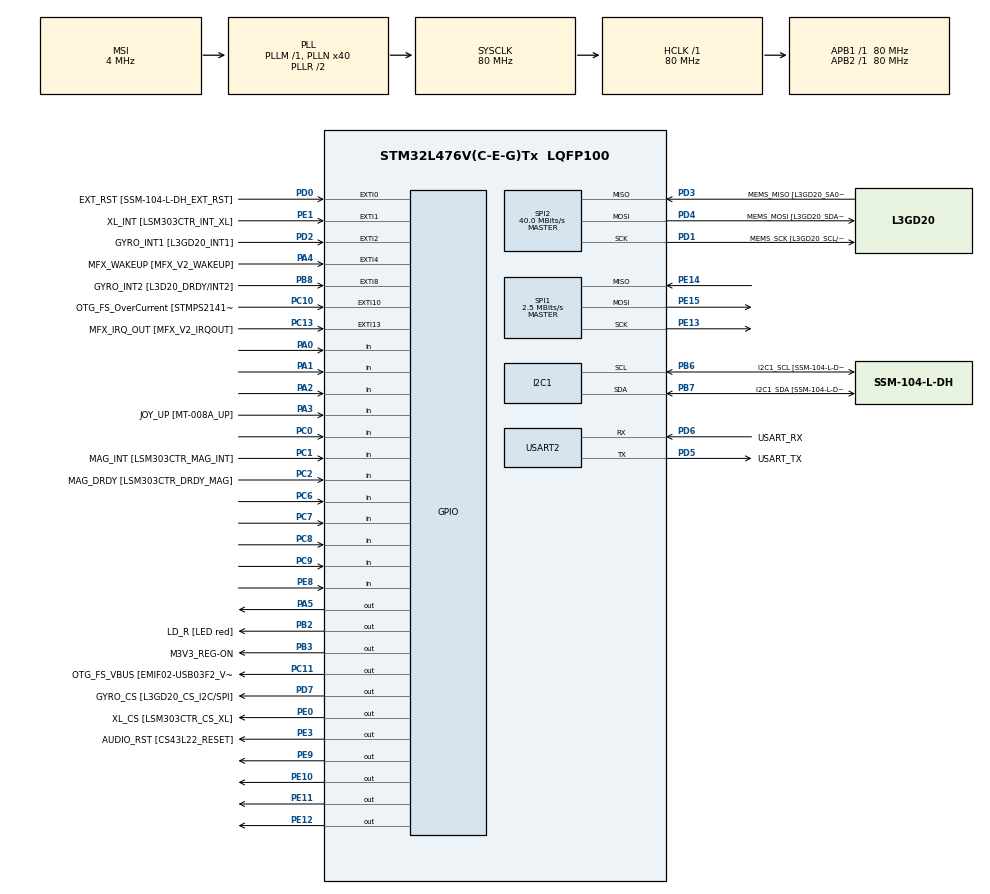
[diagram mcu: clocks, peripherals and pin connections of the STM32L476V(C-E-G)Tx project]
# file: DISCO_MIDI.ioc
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Dma.Request0=SPI1_TX
Dma.Request1=SPI2_RX
Dma.Request2=SPI1_RX
Dma.SPI1_RX.2.Direction=DMA_PERIPH_TO_MEMORY
Dma.SPI1_RX.2.Instance=DMA1_Channel2
Dma.SPI1_RX.2.MemDataAlignment=DMA_MDATAALIGN_BYTE
Dma.SPI1_RX.2.MemInc=DMA_MINC_ENABLE
Dma.SPI1_RX.2.Mode=DMA_NORMAL
Dma.SPI1_RX.2.PeriphDataAlignment=DMA_PDATAALIGN_BYTE
Dma.SPI1_RX.2.PeriphInc=DMA_PINC_DISABLE
Dma.SPI1_RX.2.Priority=DMA_PRIORITY_LOW
Dma.SPI1_TX.0.Direction=DMA_MEMORY_TO_PERIPH
Dma.SPI1_TX.0.Instance=DMA1_Channel3
Dma.SPI1_TX.0.MemDataAlignment=DMA_MDATAALIGN_BYTE
Dma.SPI1_TX.0.MemInc=DMA_MINC_ENABLE
Dma.SPI1_TX.0.Mode=DMA_NORMAL
Dma.SPI1_TX.0.PeriphDataAlignment=DMA_PDATAALIGN_BYTE
Dma.SPI1_TX.0.PeriphInc=DMA_PINC_DISABLE
Dma.SPI1_TX.0.Priority=DMA_PRIORITY_LOW
Dma.SPI2_RX.1.Direction=DMA_PERIPH_TO_MEMORY
Dma.SPI2_RX.1.Instance=DMA1_Channel4
Dma.SPI2_RX.1.MemDataAlignment=DMA_MDATAALIGN_BYTE
Dma.SPI2_RX.1.MemInc=DMA_MINC_ENABLE
Dma.SPI2_RX.1.Mode=DMA_NORMAL
Dma.SPI2_RX.1.PeriphDataAlignment=DMA_PDATAALIGN_BYTE
Dma.SPI2_RX.1.PeriphInc=DMA_PINC_DISABLE
Dma.SPI2_RX.1.Priority=DMA_PRIORITY_LOW
I2C1.Timing=0x10909CEC
Mcu.Family=STM32L4
Mcu.Name=STM32L476V(C-E-G)Tx
Mcu.Package=LQFP100
NVIC.DMA1_Channel2_IRQn=true\:0\:0\:false\:false\:true\:false\:true\:true
NVIC.DMA1_Channel3_IRQn=true\:0\:0\:false\:false\:true\:false\:true\:true
NVIC.DMA1_Channel4_IRQn=true\:0\:0\:false\:false\:true\:false\:true\:true
NVIC.PriorityGroup=NVIC_PRIORITYGROUP_4
NVIC.SPI1_IRQn=true\:0\:0\:false\:false\:true\:true\:true\:true
NVIC.SPI2_IRQn=true\:0\:0\:false\:false\:true\:true\:true\:true
PA0.GPIO_PuPd=GPIO_PULLUP
PA0.Signal=GPIO_Input
PA1.GPIO_PuPd=GPIO_PULLUP
PA1.Signal=GPIO_Input
PA10.Signal=USB_OTG_FS_ID
PA11.Signal=USB_OTG_FS_DM
PA12.Signal=USB_OTG_FS_DP
PA13\ (JTMS-SWDIO).Signal=SYS_JTMS-SWDIO
PA14\ (JTCK-SWCLK).Signal=SYS_JTCK-SWCLK
PA15\ (JTDI).GPIO_Label=SEG10 [GH08172T_SEG10]
PA15\ (JTDI).GPIO_Mode=GPIO_MODE_AF_PP
PA15\ (JTDI).GPIO_PuPd=GPIO_NOPULL
PA15\ (JTDI).GPIO_Speed=GPIO_SPEED_FREQ_LOW
PA15\ (JTDI).Signal=LCD_SEG17
PA2.GPIO_PuPd=GPIO_PULLUP
PA2.Signal=GPIO_Input
PA3.GPIO_Label=JOY_UP [MT-008A_UP]
PA3.GPIO_Mode=GPIO_MODE_INPUT
PA3.GPIO_PuPd=GPIO_PULLDOWN
PA3.Signal=GPIO_Input
PA4.GPIO_Label=MFX_WAKEUP [MFX_V2_WAKEUP]
PA4.GPIO_ModeDefaultEXTI=GPIO_MODE_EVT_RISING
PA4.GPIO_PuPd=GPIO_NOPULL
PA4.Signal=GPXTI4
PA5.Signal=GPIO_Output
PA8.GPIO_Label=COM0 [GH08172T_COM0]
PA8.GPIO_Mode=GPIO_MODE_AF_PP
PA8.GPIO_PuPd=GPIO_NOPULL
PA8.GPIO_Speed=GPIO_SPEED_FREQ_LOW
PA8.Signal=LCD_COM0
PA9.Signal=USB_OTG_FS_VBUS
PB0.GPIO_Label=SEG21 [GH08172T_SEG21]
PB0.GPIO_Mode=GPIO_MODE_AF_PP
PB0.GPIO_PuPd=GPIO_NOPULL
PB0.GPIO_Speed=GPIO_SPEED_FREQ_LOW
PB0.Signal=LCD_SEG5
PB1.GPIO_Label=SEG2 [GH08172T_SEG2]
PB1.GPIO_Mode=GPIO_MODE_AF_PP
PB1.GPIO_PuPd=GPIO_NOPULL
PB1.GPIO_Speed=GPIO_SPEED_FREQ_LOW
PB1.Signal=LCD_SEG6
PB10.GPIO_Label=MFX_I2C_SLC [MFX_V2_I2C_SCL]
PB10.GPIO_Mode=GPIO_MODE_AF_OD
PB10.GPIO_PuPdOD=GPIO_PULLUP
PB10.GPIO_Speed=GPIO_SPEED_FREQ_VERY_HIGH
PB10.Signal=I2C2_SCL
PB11.GPIO_Label=MFX_I2C_SDA [MFX_V2_I2C_SDA]
PB11.GPIO_Mode=GPIO_MODE_AF_OD
PB11.GPIO_PuPdOD=GPIO_PULLUP
PB11.GPIO_Speed=GPIO_SPEED_FREQ_VERY_HIGH
PB11.Signal=I2C2_SDA
PB12.GPIO_Label=SEG20 [GH08172T_SEG20]
PB12.GPIO_Mode=GPIO_MODE_AF_PP
PB12.GPIO_PuPd=GPIO_NOPULL
PB12.GPIO_Speed=GPIO_SPEED_FREQ_LOW
PB12.Signal=LCD_SEG12
PB13.GPIO_Label=SEG3 [GH08172T_SEG3]
PB13.GPIO_Mode=GPIO_MODE_AF_PP
PB13.GPIO_PuPd=GPIO_NOPULL
PB13.GPIO_Speed=GPIO_SPEED_FREQ_LOW
PB13.Signal=LCD_SEG13
PB14.GPIO_Label=SEG19 [GH08172T_SEG19]
PB14.GPIO_Mode=GPIO_MODE_AF_PP
PB14.GPIO_PuPd=GPIO_NOPULL
PB14.GPIO_Speed=GPIO_SPEED_FREQ_LOW
PB14.Signal=LCD_SEG14
PB15.GPIO_Label=SEG4 [GH08172T_SEG4]
PB15.GPIO_Mode=GPIO_MODE_AF_PP
PB15.GPIO_PuPd=GPIO_NOPULL
PB15.GPIO_Speed=GPIO_SPEED_FREQ_LOW
PB15.Signal=LCD_SEG15
PB2.GPIO_Label=LD_R [LED red]
PB2.GPIO_ModeDefaultOutputPP=GPIO_MODE_OUTPUT_PP
PB2.GPIO_PuPd=GPIO_PULLUP
PB2.GPIO_Speed=GPIO_SPEED_FREQ_VERY_HIGH
PB2.Signal=GPIO_Output
PB3\ (JTDO-TRACESWO).GPIO_Label=M3V3_REG-ON
PB3\ (JTDO-TRACESWO).GPIO_ModeDefaultOutputPP=GPIO_MODE_OUTPUT_PP
PB3\ (JTDO-TRACESWO).GPIO_PuPd=GPIO_NOPULL
PB3\ (JTDO-TRACESWO).GPIO_Speed=GPIO_SPEED_FREQ_LOW
PB3\ (JTDO-TRACESWO).Signal=GPIO_Output
PB4\ (NJTRST).GPIO_Label=SEG11 [GH08172T_SEG11]
PB4\ (NJTRST).GPIO_Mode=GPIO_MODE_AF_PP
PB4\ (NJTRST).GPIO_PuPd=GPIO_NOPULL
PB4\ (NJTRST).GPIO_Speed=GPIO_SPEED_FREQ_LOW
PB4\ (NJTRST).Signal=LCD_SEG8
PB5.GPIO_Label=SEG12 [GH08172T_SEG12]
PB5.GPIO_Mode=GPIO_MODE_AF_PP
PB5.GPIO_PuPd=GPIO_NOPULL
PB5.GPIO_Speed=GPIO_SPEED_FREQ_LOW
PB5.Signal=LCD_SEG9
PB6.GPIO_FM6=__NULL
PB6.GPIO_Label=I2C1_SCL [SSM-104-L-DH_SCL]
PB6.GPIO_Mode=GPIO_MODE_AF_OD
PB6.GPIO_PuPdOD=GPIO_PULLUP
PB6.GPIO_Speed=GPIO_SPEED_FREQ_VERY_HIGH
PB6.Mode=I2C
PB6.Signal=I2C1_SCL
PB7.GPIO_FM7=__NULL
PB7.GPIO_Label=I2C1_SDA [SSM-104-L-DH_SDA]
PB7.GPIO_Mode=GPIO_MODE_AF_OD
PB7.GPIO_PuPdOD=GPIO_PULLUP
PB7.GPIO_Speed=GPIO_SPEED_FREQ_VERY_HIGH
PB7.Mode=I2C
PB7.Signal=I2C1_SDA
PB8.GPIO_Label=GYRO_INT2 [L3D20_DRDY/INT2]
PB8.GPIO_ModeDefaultEXTI=GPIO_MODE_EVT_RISING
PB8.GPIO_PuPd=GPIO_NOPULL
PB8.Signal=GPXTI8
PB9.GPIO_FM9=__NULL
PB9.GPIO_Label=COM3 [GH08172T_COM3]
PB9.GPIO_Mode=GPIO_MODE_AF_PP
PB9.GPIO_PuPd=GPIO_NOPULL
PB9.GPIO_Speed=GPIO_SPEED_FREQ_LOW
PB9.Signal=LCD_COM3
PC0.Signal=GPIO_Input
PC1.GPIO_Label=MAG_INT [LSM303CTR_MAG_INT]
PC1.GPIO_Mode=GPIO_MODE_INPUT
PC1.GPIO_PuPd=GPIO_NOPULL
PC1.Signal=GPIO_Input
PC10.GPIO_Label=OTG_FS_OverCurrent [STMPS2141STR_FAULT]
PC10.GPIO_ModeDefaultEXTI=GPIO_MODE_EVT_RISING
PC10.GPIO_PuPd=GPIO_NOPULL
PC10.Signal=GPXTI10
PC11.GPIO_Label=OTG_FS_VBUS [EMIF02-USB03F2_Vbus]
PC11.GPIO_ModeDefaultOutputPP=GPIO_MODE_OUTPUT_PP
PC11.GPIO_PuPd=GPIO_NOPULL
PC11.GPIO_Speed=GPIO_SPEED_FREQ_LOW
PC11.Signal=GPIO_Output
PC13.GPIO_Label=MFX_IRQ_OUT [MFX_V2_IRQOUT]
PC13.GPIO_ModeDefaultEXTI=GPIO_MODE_EVT_RISING
PC13.GPIO_PuPd=GPIO_NOPULL
PC13.Signal=GPXTI13
PC14-OSC32_IN\ (PC14).Signal=RCC_OSC32_IN
PC15-OSC32_OUT\ (PC15).Signal=RCC_OSC32_OUT
PC2.GPIO_Label=MAG_DRDY [LSM303CTR_DRDY_MAG]
PC2.GPIO_Mode=GPIO_MODE_INPUT
PC2.GPIO_PuPd=GPIO_NOPULL
PC2.Signal=GPIO_Input
PC3.GPIO_Label=VLCD
PC3.GPIO_Mode=GPIO_MODE_AF_PP
PC3.GPIO_PuPd=GPIO_NOPULL
PC3.GPIO_Speed=GPIO_SPEED_FREQ_LOW
PC3.Signal=LCD_VLCD
PC4.GPIO_Label=SEG22 [GH08172T_SEG22]
PC4.GPIO_Mode=GPIO_MODE_AF_PP
PC4.GPIO_PuPd=GPIO_NOPULL
PC4.GPIO_Speed=GPIO_SPEED_FREQ_LOW
PC4.Signal=LCD_SEG22
PC5.GPIO_Label=SEG1 [GH08172T_SEG1]
PC5.GPIO_Mode=GPIO_MODE_AF_PP
PC5.GPIO_PuPd=GPIO_NOPULL
PC5.GPIO_Speed=GPIO_SPEED_FREQ_LOW
PC5.Signal=LCD_SEG23
PC6.Signal=GPIO_Input
PC7.Signal=GPIO_Input
PC8.Signal=GPIO_Input
PC9.Signal=GPIO_Input
PD0.GPIO_Label=EXT_RST [SSM-104-L-DH_EXT_RST]
PD0.GPIO_ModeDefaultEXTI=GPIO_MODE_EVT_RISING
PD0.GPIO_PuPd=GPIO_NOPULL
PD0.Signal=GPXTI0
PD1.GPIO_Label=MEMS_SCK [L3GD20_SCL/SPC]
PD1.GPIO_Mode=GPIO_MODE_AF_PP
PD1.GPIO_PuPd=GPIO_NOPULL
PD1.GPIO_Speed=GPIO_SPEED_FREQ_VERY_HIGH
PD1.Mode=Full_Duplex_Master
PD1.Signal=SPI2_SCK
PD10.GPIO_Label=SEG17 [GH08172T_SEG17]
PD10.GPIO_Mode=GPIO_MODE_AF_PP
PD10.GPIO_PuPd=GPIO_NOPULL
PD10.GPIO_Speed=GPIO_SPEED_FREQ_LOW
PD10.Signal=LCD_SEG30
PD11.GPIO_Label=SEG6 [GH08172T_SEG6]
PD11.GPIO_Mode=GPIO_MODE_AF_PP
PD11.GPIO_PuPd=GPIO_NOPULL
PD11.GPIO_Speed=GPIO_SPEED_FREQ_LOW
PD11.Signal=LCD_SEG31
PD12.GPIO_Label=SEG16 [GH08172T_SEG16]
PD12.GPIO_Mode=GPIO_MODE_AF_PP
PD12.GPIO_PuPd=GPIO_NOPULL
PD12.GPIO_Speed=GPIO_SPEED_FREQ_LOW
PD12.Signal=LCD_SEG32
PD13.GPIO_Label=SEG7 [GH08172T_SEG7]
PD13.GPIO_Mode=GPIO_MODE_AF_PP
PD13.GPIO_PuPd=GPIO_NOPULL
PD13.GPIO_Speed=GPIO_SPEED_FREQ_LOW
PD13.Signal=LCD_SEG33
PD14.GPIO_Label=SEG15 [GH08172T_SEG15]
PD14.GPIO_Mode=GPIO_MODE_AF_PP
PD14.GPIO_PuPd=GPIO_NOPULL
PD14.GPIO_Speed=GPIO_SPEED_FREQ_LOW
PD14.Signal=LCD_SEG34
PD15.GPIO_Label=SEG8 [GH08172T_SEG8]
PD15.GPIO_Mode=GPIO_MODE_AF_PP
PD15.GPIO_PuPd=GPIO_NOPULL
PD15.GPIO_Speed=GPIO_SPEED_FREQ_LOW
PD15.Signal=LCD_SEG35
PD2.GPIO_Label=GYRO_INT1 [L3GD20_INT1]
PD2.GPIO_ModeDefaultEXTI=GPIO_MODE_EVT_RISING
PD2.GPIO_PuPd=GPIO_NOPULL
PD2.Signal=GPXTI2
PD3.GPIO_Label=MEMS_MISO [L3GD20_SA0/SDO]
PD3.GPIO_Mode=GPIO_MODE_AF_PP
PD3.GPIO_PuPd=GPIO_NOPULL
PD3.GPIO_Speed=GPIO_SPEED_FREQ_VERY_HIGH
PD3.Mode=Full_Duplex_Master
PD3.Signal=SPI2_MISO
PD4.GPIO_Label=MEMS_MOSI [L3GD20_SDA/SDI/SDO]
PD4.GPIO_Mode=GPIO_MODE_AF_PP
PD4.GPIO_PuPd=GPIO_NOPULL
PD4.GPIO_Speed=GPIO_SPEED_FREQ_VERY_HIGH
PD4.Mode=Full_Duplex_Master
PD4.Signal=SPI2_MOSI
PD5.GPIO_Label=USART_TX
PD5.GPIO_Mode=GPIO_MODE_AF_PP
PD5.GPIO_PuPd=GPIO_PULLUP
PD5.GPIO_Speed=GPIO_SPEED_FREQ_VERY_HIGH
PD5.Mode=Asynchronous
PD5.Signal=USART2_TX
PD6.GPIO_Label=USART_RX
PD6.GPIO_Mode=GPIO_MODE_AF_PP
PD6.GPIO_PuPd=GPIO_PULLUP
PD6.GPIO_Speed=GPIO_SPEED_FREQ_VERY_HIGH
PD6.Mode=Asynchronous
PD6.Signal=USART2_RX
PD7.GPIO_Label=GYRO_CS [L3GD20_CS_I2C/SPI]
PD7.GPIO_ModeDefaultOutputPP=GPIO_MODE_OUTPUT_PP
PD7.GPIO_PuPd=GPIO_NOPULL
PD7.GPIO_Speed=GPIO_SPEED_FREQ_VERY_HIGH
PD7.Signal=GPIO_Output
PD8.GPIO_Label=SEG18 [GH08172T_SEG18]
PD8.GPIO_Mode=GPIO_MODE_AF_PP
PD8.GPIO_PuPd=GPIO_NOPULL
PD8.GPIO_Speed=GPIO_SPEED_FREQ_LOW
PD8.Signal=LCD_SEG28
PD9.GPIO_Label=SEG5 [GH08172T_SEG5]
PD9.GPIO_Mode=GPIO_MODE_AF_PP
PD9.GPIO_PuPd=GPIO_NOPULL
PD9.GPIO_Speed=GPIO_SPEED_FREQ_LOW
PD9.Signal=LCD_SEG29
PE0.GPIO_Label=XL_CS [LSM303CTR_CS_XL]
PE0.GPIO_ModeDefaultOutputPP=GPIO_MODE_OUTPUT_PP
PE0.GPIO_PuPd=GPIO_NOPULL
PE0.GPIO_Speed=GPIO_SPEED_FREQ_LOW
PE0.Signal=GPIO_Output
PE1.GPIO_Label=XL_INT [LSM303CTR_INT_XL]
PE1.GPIO_ModeDefaultEXTI=GPIO_MODE_EVT_RISING
PE1.GPIO_PuPd=GPIO_NOPULL
PE1.Signal=GPXTI1
PE10.Signal=GPIO_Output
PE11.Signal=GPIO_Output
PE12.Signal=GPIO_Output
PE13.Mode=Full_Duplex_Master
PE13.Signal=SPI1_SCK
PE14.Mode=Full_Duplex_Master
PE14.Signal=SPI1_MISO
PE15.Mode=Full_Duplex_Master
PE15.Signal=SPI1_MOSI
PE2.GPIO_Label=SAI1_MCK [CS43L22_MCLK]
PE2.GPIO_Mode=GPIO_MODE_AF_PP
PE2.GPIO_PuPd=GPIO_NOPULL
PE2.GPIO_Speed=GPIO_SPEED_FREQ_VERY_HIGH
PE2.Signal=SAI1_MCLK_A
PE3.GPIO_Label=AUDIO_RST [CS43L22_RESET]
PE3.GPIO_ModeDefaultOutputPP=GPIO_MODE_OUTPUT_PP
PE3.GPIO_PuPd=GPIO_NOPULL
PE3.GPIO_Speed=GPIO_SPEED_FREQ_HIGH
PE3.Signal=GPIO_Output
PE4.GPIO_Label=SAI1_FS [CS43L22_LRCK]
PE4.GPIO_Mode=GPIO_MODE_AF_PP
PE4.GPIO_PuPd=GPIO_NOPULL
PE4.GPIO_Speed=GPIO_SPEED_FREQ_VERY_HIGH
PE4.Signal=SAI1_FS_A
PE5.GPIO_Label=SAI1_SCK [CS43L22_SCLK]
PE5.GPIO_Mode=GPIO_MODE_AF_PP
PE5.GPIO_PuPd=GPIO_NOPULL
PE5.GPIO_Speed=GPIO_SPEED_FREQ_VERY_HIGH
PE5.Signal=SAI1_SCK_A
PE6.GPIO_Label=SAI1_SD [CS43L22_SDIN]
PE6.GPIO_Mode=GPIO_MODE_AF_PP
PE6.GPIO_PuPd=GPIO_NOPULL
PE6.GPIO_Speed=GPIO_SPEED_FREQ_VERY_HIGH
PE6.Signal=SAI1_SD_A
PE7.GPIO_Label=AUDIO_DIN [MP34DT01_DOUT]
PE7.GPIO_Mode=GPIO_MODE_AF_PP
PE7.GPIO_PuPd=GPIO_NOPULL
PE7.GPIO_Speed=GPIO_SPEED_FREQ_VERY_HIGH
PE7.Signal=SAI1_SD_B
PE8.GPIO_PuPd=GPIO_PULLUP
PE8.Signal=GPIO_Input
PE9.Signal=GPIO_Output
PH0-OSC_IN\ (PH0).Signal=RCC_OSC_IN
PH1-OSC_OUT\ (PH1).Signal=RCC_OSC_OUT
ProjectManager.HeapSize=0x200
ProjectManager.StackSize=0x400
ProjectManager.TargetToolchain=Makefile
RCC.ADCFreq_Value=48000000
RCC.AHBFreq_Value=80000000
RCC.APB1Freq_Value=80000000
RCC.APB1TimFreq_Value=80000000
RCC.APB2Freq_Value=80000000
RCC.APB2TimFreq_Value=80000000
RCC.CortexFreq_Value=80000000
RCC.HCLKFreq_Value=80000000
RCC.HSE_VALUE=8000000
RCC.HSI_VALUE=16000000
RCC.LSE_VALUE=32768
RCC.MSI_VALUE=4000000
RCC.PLLN=40
RCC.PLLSAI1N=24
RCC.PREFETCH_ENABLE=1
RCC.SYSCLKFreq_VALUE=80000000
RCC.SYSCLKSource=RCC_SYSCLKSOURCE_PLLCLK
RCC.USBFreq_Value=48000000
RCC.VCOOutputFreq_Value=160000000
SPI1.BaudRatePrescaler=SPI_BAUDRATEPRESCALER_32
SPI1.CalculateBaudRate=2.5 MBits/s
SPI1.DataSize=SPI_DATASIZE_8BIT
SPI1.Direction=SPI_DIRECTION_2LINES
SPI1.FirstBit=SPI_FIRSTBIT_MSB
SPI1.Mode=SPI_MODE_MASTER
SPI1.NSSPMode=SPI_NSS_PULSE_DISABLE
SPI1.VirtualType=VM_MASTER
SPI2.BaudRatePrescaler=SPI_BAUDRATEPRESCALER_2
SPI2.CRCCalculation=SPI_CRCCALCULATION_DISABLE
SPI2.CalculateBaudRate=40.0 MBits/s
SPI2.DataSize=SPI_DATASIZE_8BIT
SPI2.Direction=SPI_DIRECTION_2LINES
SPI2.FirstBit=SPI_FIRSTBIT_LSB
SPI2.Mode=SPI_MODE_MASTER
SPI2.NSSPMode=SPI_NSS_PULSE_DISABLE
SPI2.VirtualType=VM_MASTER
USART2.VirtualMode-Asynchronous=VM_ASYNC
board=STM32L476G-DISCO

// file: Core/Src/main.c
/* USER CODE BEGIN Header */
/**
  ******************************************************************************
  * @file           : main.c
  * @brief          : Main program body
  ******************************************************************************
  * @attention
  *
  * Copyright (c) 2023 STMicroelectronics.
  * All rights reserved.
  *
  * This software is licensed under terms that can be found in the LICENSE file
  * in the root directory of this software component.
  * If no LICENSE file comes with this software, it is provided AS-IS.
  *
  ******************************************************************************
  */
/* USER CODE END Header */
#include "main.h"

/* USER CODE BEGIN Includes */
#include "tusb.h"
#include "tusb_config.h"
#include "board_api.h"
//#include "../../tinyusb/hw/bsp/board_api.h"
//#include "family.c"
//#include "tinyusb/bsp/stm32l4/family" this isnt valid but find way to include this file
/* USER CODE END Includes */

/* USER CODE BEGIN PD */

#define SPI_LENGTH 3

enum  {
  BLINK_NOT_MOUNTED = 250,
  BLINK_MOUNTED = 1000,
  BLINK_SUSPENDED = 2500,
};

static uint32_t blink_interval_ms = BLINK_NOT_MOUNTED;

// Variable that holds the current position in the sequence.
uint32_t note_pos = 0;

// Store example melody as an array of note values
uint8_t note_sequence[] =
{
  74,78,81,86,90,93,98,102,57,61,66,69,73,78,81,85,88,92,97,100,97,92,88,85,81,78,
  74,69,66,62,57,62,66,69,74,78,81,86,90,93,97,102,97,93,90,85,81,78,73,68,64,61,
  56,61,64,68,74,78,81,86,90,93,98,102
};

// tracks which keys are pressed
uint16_t KEYPRESS = 0;
uint16_t KEYPRESSED = 0;

/* USER CODE END PD */

I2C_HandleTypeDef hi2c1;

SPI_HandleTypeDef hspi1;
SPI_HandleTypeDef hspi2;
DMA_HandleTypeDef hdma_spi1_tx;
DMA_HandleTypeDef hdma_spi1_rx;
DMA_HandleTypeDef hdma_spi2_rx;

UART_HandleTypeDef huart2;

/* USER CODE BEGIN PV */

//uint16_t I2C_TX_Buffer[]; //buffer for i2c data (wrong?)
uint8_t I2C_TX_Buffer[ 2 ]; //buffer for i2c data

uint32_t ADC1_VAL[ 8 ]; // one element for each ADC channel (one device)
uint32_t ADC2_VAL[ 8 ]; // one element for each ADC channel (one device)

uint32_t ADC1_VAL_TEST[ 8 ]; // one element for each ADC channel (one device)
uint32_t ADC2_VAL_TEST[ 8 ]; // one element for each ADC channel (one device)
//uint32_t adc_val;

uint8_t SPI_TX_Buffer[ SPI_LENGTH ];

uint8_t SPI_RX_Buffer[ SPI_LENGTH ];

/* USER CODE END PV */

void SystemClock_Config(void);
static void MX_GPIO_Init(void);
static void MX_DMA_Init(void);
static void MX_SPI1_Init(void);
static void MX_I2C1_Init(void);
static void MX_SPI2_Init(void);
static void MX_USART2_UART_Init(void);
/* USER CODE BEGIN PFP */

void midi_task(void);
void READ_KEYPRESS(uint32_t adc1_val[], uint32_t adc2_val[]);
uint8_t HALL_TO_DAC(uint32_t adc1_val[], uint32_t adc2_val[], int octave_num);
uint8_t DAC_TO_MIDI(uint8_t val);
void MIDI_TASK(int octave_num);

/* USER CODE END PFP */

int main(void)
{

  /* MCU Configuration--------------------------------------------------------*/

  /* Reset of all peripherals, Initializes the Flash interface and the Systick. */
  HAL_Init();

  /* Configure the system clock */
  //SystemClock_Config();

  /* USER CODE BEGIN SysInit */
  /* INITIALIZE TINYUSB */
  board_init();
  //tusb_init();
  /* USER CODE END SysInit */

  /* Initialize all configured peripherals */
  MX_GPIO_Init();
  MX_DMA_Init();
  MX_SPI1_Init();
  MX_I2C1_Init();
  MX_SPI2_Init();
  MX_USART2_UART_Init();
  /* USER CODE BEGIN 2 */

  /* INITIALIZE TINYUSB */
  //board_init();
  tusb_init();
  //tud_init(BOARD_TUD_RHPORT);

  // initialize transmit buffer for test case
  // START BIT
  SPI_TX_Buffer[0] = 0b00000001;
  // CHANNEL SELECT (JUST CHECK CH0 FOR NOW)
  SPI_TX_Buffer[1] = 0b10000000; // single ended, ch0 (top 4 bits)
  // NEED TO SEND THIRD BYTE (FULL DUPLEX), DONT CARE
  SPI_TX_Buffer[2] = 0b00000000;

  // set slave address of i2c device
  uint8_t slave_address = 0b01011000;

  //reset dac registers
  I2C_TX_Buffer[0] = 0b00010000; // send command byte, select OUT0
  HAL_I2C_Master_Transmit(&hi2c1,slave_address,I2C_TX_Buffer,1,1000); //Sending in Blocking mode
  HAL_GPIO_WritePin(GPIOE, GPIO_PIN_12, GPIO_PIN_SET);
  HAL_GPIO_WritePin(GPIOE, GPIO_PIN_11, GPIO_PIN_SET);

  int octave_num = 2;
  bool flag1 = false;
  bool flag2 = false;

  // MIDI == 0 , DAC == 1
  bool output_state = 0;
  //volatile int PA_1_VAL = 0;
  //volatile int PA_2_VAL = 0;

  /*
  I2C_TX_Buffer[0] = slave_address; // set slave address to AD0
  HAL_I2C_Master_Transmit(&hi2c1,slave_address,I2C_TX_Buffer,1,1000); //Sending in Blocking mode
  I2C_TX_Buffer[0] = 0b00010000; // send command byte, select OUT0
  HAL_I2C_Master_Transmit(&hi2c1,slave_address,I2C_TX_Buffer,1,1000); //Sending in Blocking mode
  */

  //I2C_TX_Buffer[0] = slave_address; // set slave address to AD0 -- put in header file!
  //HAL_I2C_Master_Transmit(&hi2c1,slave_address,I2C_TX_Buffer,1,1000); //Sending in Blocking mode
  //HAL_Delay(100);

  //int i = 0;

  /* TEST CODE FOR MIDI INTERFACE*/
  //zero out test ADC buffers
  /*
  for(int i = 0;i<12;i++){
    ADC1_VAL_TEST[i] = 0x0;
    ADC2_VAL_TEST[i] = 0x0;
  }
  */

  tud_task();

  /* USER CODE END 2 */

  /* Infinite loop */
  /* USER CODE BEGIN WHILE */
  while (1)
  {

    // TEST CODE, SET EACH VALUE IN BUFFER ABOVE THRESHOLD FOR NOTE ON
    /*
    if(j > 7) j = 0;
    if(j == 0) {
      ADC1_VAL_TEST[j] = 650;
      ADC1_VAL_TEST[j+1] = 650;
      ADC1_VAL_TEST[7] = 0;
    }
    else {
      ADC1_VAL_TEST[j] = 650;
      ADC1_VAL_TEST[j+1] = 650;
      ADC1_VAL_TEST[j-1] = 0;
    }
    j = j+1;

    READ_KEYPRESS(ADC1_VAL_TEST,ADC2_VAL_TEST);
    tud_task(); // tinyusb device task
    MIDI_TASK(octave_num);
    */
    //HAL_Delay(1000);

    //PA_1_VAL = HAL_GPIO_ReadPin (GPIOA, GPIO_PIN_1);
    //PA_2_VAL = HAL_GPIO_ReadPin (GPIOA, GPIO_PIN_2);

    tud_task(); // tinyusb device task

    if (!HAL_GPIO_ReadPin(GPIOA, GPIO_PIN_1) && !flag1){
      octave_num = octave_num + 1;
      if(octave_num > 4) octave_num = 4;
      flag1 = true;
    }

    if (HAL_GPIO_ReadPin(GPIOA, GPIO_PIN_1)) flag1 = false;

    if (!HAL_GPIO_ReadPin(GPIOA, GPIO_PIN_2) && !flag2){
      octave_num = octave_num - 1;
      if(octave_num < 0) octave_num = 0;
      flag2 = true;
    }

    if (HAL_GPIO_ReadPin(GPIOA, GPIO_PIN_2)) flag2 = false;

    // SPI ADC TEST (IN BLOCKING MODE)
    for (int i = 0; i < 8; i++) {
    SPI_TX_Buffer[1] = 0b10000000 | (i<<4); // single ended, bits 6-4 specify channel (top 4 bits)
    // pull CS low for selecting device (only using one ADC right now)
    HAL_GPIO_WritePin(GPIOE, GPIO_PIN_11, GPIO_PIN_RESET);
    // one full duplex interaction
    HAL_SPI_TransmitReceive (&hspi1, SPI_TX_Buffer, SPI_RX_Buffer, 3, 1000);
    // now need to parse data
    ADC1_VAL[i] = (((SPI_RX_Buffer[1]&0x03)<<8)|SPI_RX_Buffer[2]);
    // default CS to be high
    HAL_GPIO_WritePin(GPIOE, GPIO_PIN_11, GPIO_PIN_SET);
    //if(i == 7) i = 0;
    //else i++;
    }

    for (int i = 0; i < 8; i++) {
    SPI_TX_Buffer[1] = 0b10000000 | (i<<4); // single ended, bits 6-4 specify channel (top 4 bits)
    // pull CS low for selecting device (only using one ADC right now)
    HAL_GPIO_WritePin(GPIOE, GPIO_PIN_12, GPIO_PIN_RESET);
    // one full duplex interaction
    HAL_SPI_TransmitReceive (&hspi1, SPI_TX_Buffer, SPI_RX_Buffer, 3, 1000);
    // now need to parse data
    ADC2_VAL[i] = (((SPI_RX_Buffer[1]&0x03)<<8)|SPI_RX_Buffer[2]);
    // default CS to be high
    HAL_GPIO_WritePin(GPIOE, GPIO_PIN_12, GPIO_PIN_SET);
    }

    /* CHECK OUTPUT SWITCH, SEND 0x00 from DAC if in MIDI mode*/
    if (!HAL_GPIO_ReadPin(GPIOE, GPIO_PIN_8)){
    /* Read through all DAC channels in output buffer, set output on ADC accordingly */
      I2C_TX_Buffer[0] = 0x0; // command byte, select OUT0
      I2C_TX_Buffer[1] = HALL_TO_DAC(ADC1_VAL,ADC2_VAL,octave_num); // data byte, corresponds to each channel of one 8 channel DAC (eventually need 2 DACs)
      HAL_I2C_Master_Transmit(&hi2c1,slave_address,I2C_TX_Buffer,2,1000); //Sending in Blocking mode
    }
    /* EVENTUALLY should send DAC = 0 (SET GATE also eventually) AND midi signal */
    else{
      I2C_TX_Buffer[0] = 0x0; // command byte, select OUT0
      I2C_TX_Buffer[1] = 0x0; // data byte, corresponds to each channel of one 8 channel DAC (eventually need 2 DACs)
      HAL_I2C_Master_Transmit(&hi2c1,slave_address,I2C_TX_Buffer,2,1000); //Sending in Blocking mode
      /* CODE BELOW SHOULD BE GOOD, JUST COMMENTED OUT FOR TESTING PURPOSES */
      READ_KEYPRESS(ADC1_VAL,ADC2_VAL);
      MIDI_TASK(octave_num);
    }
    /* I2C protocol test -- move test cases to auxiliary files */

    //I2C_TX_Buffer[0] = 0x0; // command byte, select OUT0
    //I2C_TX_Buffer[1] = 0xFF; // data byte, full VREF
    //HAL_I2C_Master_Transmit(&hi2c1,slave_address,I2C_TX_Buffer,2,1000); //Sending in Blocking mode
    //HAL_Delay(1000);

    //I2C_TX_Buffer[0] = 0x0; // command byte, select OUT0
    //I2C_TX_Buffer[1] = 0x80; // data byte, half VREF
    //HAL_I2C_Master_Transmit(&hi2c1,slave_address,I2C_TX_Buffer,2,1000); //Sending in Blocking mode
    //HAL_Delay(1000);

    //I2C_TX_Buffer[0] = 0x0; // command byte, select OUT0
    //I2C_TX_Buffer[1] = 0x0; // data byte, GND
    //HAL_I2C_Master_Transmit(&hi2c1,slave_address,I2C_TX_Buffer,2,1000); //Sending in Blocking mode
    //HAL_Delay(1000);

    //tud_task(); // tinyusb device task
    //MIDI_TASK();
    //midi_task();
    //HAL_Delay(1000);

    /* USER CODE END WHILE */

  }
}

void SystemClock_Config(void)
{
  RCC_OscInitTypeDef RCC_OscInitStruct = {0};
  RCC_ClkInitTypeDef RCC_ClkInitStruct = {0};

  /** Configure the main internal regulator output voltage
  */
  if (HAL_PWREx_ControlVoltageScaling(PWR_REGULATOR_VOLTAGE_SCALE1) != HAL_OK)
  {
    Error_Handler();
  }

  /** Initializes the RCC Oscillators according to the specified parameters
  * in the RCC_OscInitTypeDef structure.
  */
  RCC_OscInitStruct.OscillatorType = RCC_OSCILLATORTYPE_MSI;
  RCC_OscInitStruct.MSIState = RCC_MSI_ON;
  RCC_OscInitStruct.MSICalibrationValue = 0;
  RCC_OscInitStruct.MSIClockRange = RCC_MSIRANGE_6;
  RCC_OscInitStruct.PLL.PLLState = RCC_PLL_ON;
  RCC_OscInitStruct.PLL.PLLSource = RCC_PLLSOURCE_MSI;
  RCC_OscInitStruct.PLL.PLLM = 1;
  RCC_OscInitStruct.PLL.PLLN = 40;
  RCC_OscInitStruct.PLL.PLLP = RCC_PLLP_DIV7;
  RCC_OscInitStruct.PLL.PLLQ = RCC_PLLQ_DIV2;
  RCC_OscInitStruct.PLL.PLLR = RCC_PLLR_DIV2;
  if (HAL_RCC_OscConfig(&RCC_OscInitStruct) != HAL_OK)
  {
    Error_Handler();
  }

  /** Initializes the CPU, AHB and APB buses clocks
  */
  RCC_ClkInitStruct.ClockType = RCC_CLOCKTYPE_HCLK|RCC_CLOCKTYPE_SYSCLK
                              |RCC_CLOCKTYPE_PCLK1|RCC_CLOCKTYPE_PCLK2;
  RCC_ClkInitStruct.SYSCLKSource = RCC_SYSCLKSOURCE_PLLCLK;
  RCC_ClkInitStruct.AHBCLKDivider = RCC_SYSCLK_DIV1;
  RCC_ClkInitStruct.APB1CLKDivider = RCC_HCLK_DIV1;
  RCC_ClkInitStruct.APB2CLKDivider = RCC_HCLK_DIV1;

  if (HAL_RCC_ClockConfig(&RCC_ClkInitStruct, FLASH_LATENCY_4) != HAL_OK)
  {
    Error_Handler();
  }
}

static void MX_I2C1_Init(void)
{

  hi2c1.Instance = I2C1;
  hi2c1.Init.Timing = 0x10909CEC;
  hi2c1.Init.OwnAddress1 = 0;
  hi2c1.Init.AddressingMode = I2C_ADDRESSINGMODE_7BIT;
  hi2c1.Init.DualAddressMode = I2C_DUALADDRESS_DISABLE;
  hi2c1.Init.OwnAddress2 = 0;
  hi2c1.Init.OwnAddress2Masks = I2C_OA2_NOMASK;
  hi2c1.Init.GeneralCallMode = I2C_GENERALCALL_DISABLE;
  hi2c1.Init.NoStretchMode = I2C_NOSTRETCH_DISABLE;
  if (HAL_I2C_Init(&hi2c1) != HAL_OK)
  {
    Error_Handler();
  }

  /** Configure Analogue filter
  */
  if (HAL_I2CEx_ConfigAnalogFilter(&hi2c1, I2C_ANALOGFILTER_ENABLE) != HAL_OK)
  {
    Error_Handler();
  }

  /** Configure Digital filter
  */
  if (HAL_I2CEx_ConfigDigitalFilter(&hi2c1, 0) != HAL_OK)
  {
    Error_Handler();
  }

}

static void MX_SPI1_Init(void)
{

  /* SPI1 parameter configuration*/
  hspi1.Instance = SPI1;
  hspi1.Init.Mode = SPI_MODE_MASTER;
  hspi1.Init.Direction = SPI_DIRECTION_2LINES;
  hspi1.Init.DataSize = SPI_DATASIZE_8BIT;
  hspi1.Init.CLKPolarity = SPI_POLARITY_LOW;
  hspi1.Init.CLKPhase = SPI_PHASE_1EDGE;
  hspi1.Init.NSS = SPI_NSS_SOFT;
  hspi1.Init.BaudRatePrescaler = SPI_BAUDRATEPRESCALER_32;
  hspi1.Init.FirstBit = SPI_FIRSTBIT_MSB;
  hspi1.Init.TIMode = SPI_TIMODE_DISABLE;
  hspi1.Init.CRCCalculation = SPI_CRCCALCULATION_DISABLE;
  hspi1.Init.CRCPolynomial = 7;
  hspi1.Init.CRCLength = SPI_CRC_LENGTH_DATASIZE;
  hspi1.Init.NSSPMode = SPI_NSS_PULSE_DISABLE;
  if (HAL_SPI_Init(&hspi1) != HAL_OK)
  {
    Error_Handler();
  }

}

static void MX_SPI2_Init(void)
{

  /* SPI2 parameter configuration*/
  hspi2.Instance = SPI2;
  hspi2.Init.Mode = SPI_MODE_MASTER;
  hspi2.Init.Direction = SPI_DIRECTION_2LINES;
  hspi2.Init.DataSize = SPI_DATASIZE_8BIT;
  hspi2.Init.CLKPolarity = SPI_POLARITY_LOW;
  hspi2.Init.CLKPhase = SPI_PHASE_1EDGE;
  hspi2.Init.NSS = SPI_NSS_SOFT;
  hspi2.Init.BaudRatePrescaler = SPI_BAUDRATEPRESCALER_2;
  hspi2.Init.FirstBit = SPI_FIRSTBIT_LSB;
  hspi2.Init.TIMode = SPI_TIMODE_DISABLE;
  hspi2.Init.CRCCalculation = SPI_CRCCALCULATION_DISABLE;
  hspi2.Init.CRCPolynomial = 7;
  hspi2.Init.CRCLength = SPI_CRC_LENGTH_DATASIZE;
  hspi2.Init.NSSPMode = SPI_NSS_PULSE_DISABLE;
  if (HAL_SPI_Init(&hspi2) != HAL_OK)
  {
    Error_Handler();
  }

}

static void MX_USART2_UART_Init(void)
{

  huart2.Instance = USART2;
  huart2.Init.BaudRate = 115200;
  huart2.Init.WordLength = UART_WORDLENGTH_8B;
  huart2.Init.StopBits = UART_STOPBITS_1;
  huart2.Init.Parity = UART_PARITY_NONE;
  huart2.Init.Mode = UART_MODE_TX_RX;
  huart2.Init.HwFlowCtl = UART_HWCONTROL_NONE;
  huart2.Init.OverSampling = UART_OVERSAMPLING_16;
  huart2.Init.OneBitSampling = UART_ONE_BIT_SAMPLE_DISABLE;
  huart2.AdvancedInit.AdvFeatureInit = UART_ADVFEATURE_NO_INIT;
  if (HAL_UART_Init(&huart2) != HAL_OK)
  {
    Error_Handler();
  }

}

static void MX_DMA_Init(void)
{

  /* DMA controller clock enable */
  __HAL_RCC_DMA1_CLK_ENABLE();

  /* DMA interrupt init */
  /* DMA1_Channel2_IRQn interrupt configuration */
  HAL_NVIC_SetPriority(DMA1_Channel2_IRQn, 0, 0);
  HAL_NVIC_EnableIRQ(DMA1_Channel2_IRQn);
  /* DMA1_Channel3_IRQn interrupt configuration */
  HAL_NVIC_SetPriority(DMA1_Channel3_IRQn, 0, 0);
  HAL_NVIC_EnableIRQ(DMA1_Channel3_IRQn);
  /* DMA1_Channel4_IRQn interrupt configuration */
  HAL_NVIC_SetPriority(DMA1_Channel4_IRQn, 0, 0);
  HAL_NVIC_EnableIRQ(DMA1_Channel4_IRQn);

}

static void MX_GPIO_Init(void)
{
  GPIO_InitTypeDef GPIO_InitStruct = {0};

  /* GPIO Ports Clock Enable */
  __HAL_RCC_GPIOE_CLK_ENABLE();
  __HAL_RCC_GPIOC_CLK_ENABLE();
  __HAL_RCC_GPIOH_CLK_ENABLE();
  __HAL_RCC_GPIOA_CLK_ENABLE();
  __HAL_RCC_GPIOB_CLK_ENABLE();
  __HAL_RCC_GPIOD_CLK_ENABLE();

  /*Configure GPIO pin Output Level */
  HAL_GPIO_WritePin(GPIOE, AUDIO_RST_Pin|GPIO_PIN_9|GPIO_PIN_10|GPIO_PIN_11
                          |GPIO_PIN_12|XL_CS_Pin, GPIO_PIN_RESET);

  /*Configure GPIO pin Output Level */
  HAL_GPIO_WritePin(GPIOA, GPIO_PIN_5, GPIO_PIN_RESET);

  /*Configure GPIO pin Output Level */
  HAL_GPIO_WritePin(GPIOB, LD_R_Pin|M3V3_REG_ON_Pin, GPIO_PIN_RESET);

  /*Configure GPIO pin Output Level */
  HAL_GPIO_WritePin(OTG_FS_VBUS_GPIO_Port, OTG_FS_VBUS_Pin, GPIO_PIN_RESET);

  /*Configure GPIO pin Output Level */
  HAL_GPIO_WritePin(GYRO_CS_GPIO_Port, GYRO_CS_Pin, GPIO_PIN_RESET);

  /*Configure GPIO pins : SAI1_MCK_Pin SAI1_FS_Pin SAI1_SCK_Pin SAI1_SD_Pin
                           AUDIO_DIN_Pin */
  GPIO_InitStruct.Pin = SAI1_MCK_Pin|SAI1_FS_Pin|SAI1_SCK_Pin|SAI1_SD_Pin
                          |AUDIO_DIN_Pin;
  GPIO_InitStruct.Mode = GPIO_MODE_AF_PP;
  GPIO_InitStruct.Pull = GPIO_NOPULL;
  GPIO_InitStruct.Speed = GPIO_SPEED_FREQ_VERY_HIGH;
  GPIO_InitStruct.Alternate = GPIO_AF13_SAI1;
  HAL_GPIO_Init(GPIOE, &GPIO_InitStruct);

  /*Configure GPIO pin : AUDIO_RST_Pin */
  GPIO_InitStruct.Pin = AUDIO_RST_Pin;
  GPIO_InitStruct.Mode = GPIO_MODE_OUTPUT_PP;
  GPIO_InitStruct.Pull = GPIO_NOPULL;
  GPIO_InitStruct.Speed = GPIO_SPEED_FREQ_HIGH;
  HAL_GPIO_Init(AUDIO_RST_GPIO_Port, &GPIO_InitStruct);

  /*Configure GPIO pins : MFX_IRQ_OUT_Pin OTG_FS_OverCurrent_Pin */
  GPIO_InitStruct.Pin = MFX_IRQ_OUT_Pin|OTG_FS_OverCurrent_Pin;
  GPIO_InitStruct.Mode = GPIO_MODE_EVT_RISING;
  GPIO_InitStruct.Pull = GPIO_NOPULL;
  HAL_GPIO_Init(GPIOC, &GPIO_InitStruct);

  /*Configure GPIO pins : PC0 MAG_INT_Pin MAG_DRDY_Pin PC6
                           PC7 PC8 PC9 */
  GPIO_InitStruct.Pin = GPIO_PIN_0|MAG_INT_Pin|MAG_DRDY_Pin|GPIO_PIN_6
                          |GPIO_PIN_7|GPIO_PIN_8|GPIO_PIN_9;
  GPIO_InitStruct.Mode = GPIO_MODE_INPUT;
  GPIO_InitStruct.Pull = GPIO_NOPULL;
  HAL_GPIO_Init(GPIOC, &GPIO_InitStruct);

  /*Configure GPIO pins : VLCD_Pin SEG22_Pin SEG1_Pin */
  GPIO_InitStruct.Pin = VLCD_Pin|SEG22_Pin|SEG1_Pin;
  GPIO_InitStruct.Mode = GPIO_MODE_AF_PP;
  GPIO_InitStruct.Pull = GPIO_NOPULL;
  GPIO_InitStruct.Speed = GPIO_SPEED_FREQ_LOW;
  GPIO_InitStruct.Alternate = GPIO_AF11_LCD;
  HAL_GPIO_Init(GPIOC, &GPIO_InitStruct);

  /*Configure GPIO pins : PA0 PA1 PA2 */
  GPIO_InitStruct.Pin = GPIO_PIN_0|GPIO_PIN_1|GPIO_PIN_2;
  GPIO_InitStruct.Mode = GPIO_MODE_INPUT;
  GPIO_InitStruct.Pull = GPIO_PULLUP;
  HAL_GPIO_Init(GPIOA, &GPIO_InitStruct);

  /*Configure GPIO pin : JOY_UP_Pin */
  GPIO_InitStruct.Pin = JOY_UP_Pin;
  GPIO_InitStruct.Mode = GPIO_MODE_INPUT;
  GPIO_InitStruct.Pull = GPIO_PULLDOWN;
  HAL_GPIO_Init(JOY_UP_GPIO_Port, &GPIO_InitStruct);

  /*Configure GPIO pin : MFX_WAKEUP_Pin */
  GPIO_InitStruct.Pin = MFX_WAKEUP_Pin;
  GPIO_InitStruct.Mode = GPIO_MODE_EVT_RISING;
  GPIO_InitStruct.Pull = GPIO_NOPULL;
  HAL_GPIO_Init(MFX_WAKEUP_GPIO_Port, &GPIO_InitStruct);

  /*Configure GPIO pin : PA5 */
  GPIO_InitStruct.Pin = GPIO_PIN_5;
  GPIO_InitStruct.Mode = GPIO_MODE_OUTPUT_PP;
  GPIO_InitStruct.Pull = GPIO_NOPULL;
  GPIO_InitStruct.Speed = GPIO_SPEED_FREQ_LOW;
  HAL_GPIO_Init(GPIOA, &GPIO_InitStruct);

  /*Configure GPIO pins : SEG21_Pin SEG2_Pin SEG20_Pin SEG3_Pin
                           SEG19_Pin SEG4_Pin SEG11_Pin SEG12_Pin
                           COM3_Pin */
  GPIO_InitStruct.Pin = SEG21_Pin|SEG2_Pin|SEG20_Pin|SEG3_Pin
                          |SEG19_Pin|SEG4_Pin|SEG11_Pin|SEG12_Pin
                          |COM3_Pin;
  GPIO_InitStruct.Mode = GPIO_MODE_AF_PP;
  GPIO_InitStruct.Pull = GPIO_NOPULL;
  GPIO_InitStruct.Speed = GPIO_SPEED_FREQ_LOW;
  GPIO_InitStruct.Alternate = GPIO_AF11_LCD;
  HAL_GPIO_Init(GPIOB, &GPIO_InitStruct);

  /*Configure GPIO pin : LD_R_Pin */
  GPIO_InitStruct.Pin = LD_R_Pin;
  GPIO_InitStruct.Mode = GPIO_MODE_OUTPUT_PP;
  GPIO_InitStruct.Pull = GPIO_PULLUP;
  GPIO_InitStruct.Speed = GPIO_SPEED_FREQ_VERY_HIGH;
  HAL_GPIO_Init(LD_R_GPIO_Port, &GPIO_InitStruct);

  /*Configure GPIO pin : PE8 */
  GPIO_InitStruct.Pin = GPIO_PIN_8;
  GPIO_InitStruct.Mode = GPIO_MODE_INPUT;
  GPIO_InitStruct.Pull = GPIO_PULLUP;
  HAL_GPIO_Init(GPIOE, &GPIO_InitStruct);

  /*Configure GPIO pins : PE9 PE10 PE11 PE12
                           XL_CS_Pin */
  GPIO_InitStruct.Pin = GPIO_PIN_9|GPIO_PIN_10|GPIO_PIN_11|GPIO_PIN_12
                          |XL_CS_Pin;
  GPIO_InitStruct.Mode = GPIO_MODE_OUTPUT_PP;
  GPIO_InitStruct.Pull = GPIO_NOPULL;
  GPIO_InitStruct.Speed = GPIO_SPEED_FREQ_LOW;
  HAL_GPIO_Init(GPIOE, &GPIO_InitStruct);

  /*Configure GPIO pins : MFX_I2C_SLC_Pin MFX_I2C_SDA_Pin */
  GPIO_InitStruct.Pin = MFX_I2C_SLC_Pin|MFX_I2C_SDA_Pin;
  GPIO_InitStruct.Mode = GPIO_MODE_AF_OD;
  GPIO_InitStruct.Pull = GPIO_NOPULL;
  GPIO_InitStruct.Speed = GPIO_SPEED_FREQ_VERY_HIGH;
  GPIO_InitStruct.Alternate = GPIO_AF4_I2C2;
  HAL_GPIO_Init(GPIOB, &GPIO_InitStruct);

  /*Configure GPIO pins : SEG18_Pin SEG5_Pin SEG17_Pin SEG6_Pin
                           SEG16_Pin SEG7_Pin SEG15_Pin SEG8_Pin */
  GPIO_InitStruct.Pin = SEG18_Pin|SEG5_Pin|SEG17_Pin|SEG6_Pin
                          |SEG16_Pin|SEG7_Pin|SEG15_Pin|SEG8_Pin;
  GPIO_InitStruct.Mode = GPIO_MODE_AF_PP;
  GPIO_InitStruct.Pull = GPIO_NOPULL;
  GPIO_InitStruct.Speed = GPIO_SPEED_FREQ_LOW;
  GPIO_InitStruct.Alternate = GPIO_AF11_LCD;
  HAL_GPIO_Init(GPIOD, &GPIO_InitStruct);

  /*Configure GPIO pins : COM0_Pin SEG10_Pin */
  GPIO_InitStruct.Pin = COM0_Pin|SEG10_Pin;
  GPIO_InitStruct.Mode = GPIO_MODE_AF_PP;
  GPIO_InitStruct.Pull = GPIO_NOPULL;
  GPIO_InitStruct.Speed = GPIO_SPEED_FREQ_LOW;
  GPIO_InitStruct.Alternate = GPIO_AF11_LCD;
  HAL_GPIO_Init(GPIOA, &GPIO_InitStruct);

  /*Configure GPIO pin : PA9 */
  GPIO_InitStruct.Pin = GPIO_PIN_9;
  GPIO_InitStruct.Mode = GPIO_MODE_INPUT;
  GPIO_InitStruct.Pull = GPIO_NOPULL;
  HAL_GPIO_Init(GPIOA, &GPIO_InitStruct);

  /*Configure GPIO pins : PA10 PA11 PA12 */
  GPIO_InitStruct.Pin = GPIO_PIN_10|GPIO_PIN_11|GPIO_PIN_12;
  GPIO_InitStruct.Mode = GPIO_MODE_AF_PP;
  GPIO_InitStruct.Pull = GPIO_NOPULL;
  GPIO_InitStruct.Speed = GPIO_SPEED_FREQ_VERY_HIGH;
  GPIO_InitStruct.Alternate = GPIO_AF10_OTG_FS;
  HAL_GPIO_Init(GPIOA, &GPIO_InitStruct);

  /*Configure GPIO pin : OTG_FS_VBUS_Pin */
  GPIO_InitStruct.Pin = OTG_FS_VBUS_Pin;
  GPIO_InitStruct.Mode = GPIO_MODE_OUTPUT_PP;
  GPIO_InitStruct.Pull = GPIO_NOPULL;
  GPIO_InitStruct.Speed = GPIO_SPEED_FREQ_LOW;
  HAL_GPIO_Init(OTG_FS_VBUS_GPIO_Port, &GPIO_InitStruct);

  /*Configure GPIO pins : EXT_RST_Pin GYRO_INT1_Pin */
  GPIO_InitStruct.Pin = EXT_RST_Pin|GYRO_INT1_Pin;
  GPIO_InitStruct.Mode = GPIO_MODE_EVT_RISING;
  GPIO_InitStruct.Pull = GPIO_NOPULL;
  HAL_GPIO_Init(GPIOD, &GPIO_InitStruct);

  /*Configure GPIO pin : GYRO_CS_Pin */
  GPIO_InitStruct.Pin = GYRO_CS_Pin;
  GPIO_InitStruct.Mode = GPIO_MODE_OUTPUT_PP;
  GPIO_InitStruct.Pull = GPIO_NOPULL;
  GPIO_InitStruct.Speed = GPIO_SPEED_FREQ_VERY_HIGH;
  HAL_GPIO_Init(GYRO_CS_GPIO_Port, &GPIO_InitStruct);

  /*Configure GPIO pin : M3V3_REG_ON_Pin */
  GPIO_InitStruct.Pin = M3V3_REG_ON_Pin;
  GPIO_InitStruct.Mode = GPIO_MODE_OUTPUT_PP;
  GPIO_InitStruct.Pull = GPIO_NOPULL;
  GPIO_InitStruct.Speed = GPIO_SPEED_FREQ_LOW;
  HAL_GPIO_Init(M3V3_REG_ON_GPIO_Port, &GPIO_InitStruct);

  /*Configure GPIO pin : GYRO_INT2_Pin */
  GPIO_InitStruct.Pin = GYRO_INT2_Pin;
  GPIO_InitStruct.Mode = GPIO_MODE_EVT_RISING;
  GPIO_InitStruct.Pull = GPIO_NOPULL;
  HAL_GPIO_Init(GYRO_INT2_GPIO_Port, &GPIO_InitStruct);

  /*Configure GPIO pin : XL_INT_Pin */
  GPIO_InitStruct.Pin = XL_INT_Pin;
  GPIO_InitStruct.Mode = GPIO_MODE_EVT_RISING;
  GPIO_InitStruct.Pull = GPIO_NOPULL;
  HAL_GPIO_Init(XL_INT_GPIO_Port, &GPIO_InitStruct);

}

/* USER CODE BEGIN 4 */

//--------------------------------------------------------------------+
// Device callbacks
//--------------------------------------------------------------------+

// Invoked when device is mounted
void tud_mount_cb(void)
{
  blink_interval_ms = BLINK_MOUNTED;
}

// Invoked when device is unmounted
void tud_umount_cb(void)
{
  blink_interval_ms = BLINK_NOT_MOUNTED;
}

// Invoked when usb bus is suspended
// remote_wakeup_en : if host allow us  to perform remote wakeup
// Within 7ms, device must draw an average of current less than 2.5 mA from bus
void tud_suspend_cb(bool remote_wakeup_en)
{
  (void) remote_wakeup_en;
  blink_interval_ms = BLINK_SUSPENDED;
}

// Invoked when usb bus is resumed
void tud_resume_cb(void)
{
  blink_interval_ms = tud_mounted() ? BLINK_MOUNTED : BLINK_NOT_MOUNTED;
}

/* LOUIS IMPLEMENTATION OF MIDI TASK*/
void MIDI_TASK(int octave_num){
  uint8_t const cable_num = 0; // MIDI jack associated with USB endpoint
  uint8_t const channel   = 0; // 0 for channel 1

  // The MIDI interface always creates input and output port/jack descriptors
  // regardless of these being used or not. Therefore incoming traffic should be read
  // (possibly just discarded) to avoid the sender blocking in IO
  uint8_t packet[4];
  while ( tud_midi_available() ) tud_midi_packet_read(packet);

  // delay necessary?
  //HAL_Delay(20);
  static int octave_history;

  uint8_t note_on[3];
  uint8_t note_off[3];

  //note_on[0] = 0x90 | channel;
  //note_on[1] = (42);
  //note_on[2] = 127;
  //tud_midi_stream_write(cable_num, note_on, 3);

  for(int i=0;i<12;i++){
    if ((((KEYPRESS >> i) & 0x1) == 1) && ((KEYPRESSED >> i) == 0)){
      KEYPRESSED = KEYPRESSED | (0x1 << i);
      note_on[0] = 0x90 | channel;
      note_on[1] = (12*octave_num + 24 + i);
      note_on[2] = 127;
      tud_midi_stream_write(cable_num, note_on, 3);
    }
    else if((((KEYPRESS >> i) & 0x1) == 1) && ((KEYPRESSED >> i) == 1)){
      if(octave_history == octave_num) continue;
      else {
        note_off[0] = 0x80 | channel;
        note_off[1] = (12*octave_history + 24 + i);
        note_off[2] = 0;
        tud_midi_stream_write(cable_num, note_off, 3);

        KEYPRESSED = KEYPRESSED | (0x1 << i);
        note_on[0] = 0x90 | channel;
        note_on[1] = (12*octave_num + 24 + i);
        note_on[2] = 127;
        tud_midi_stream_write(cable_num, note_on, 3);
      }
    }
    else if((((KEYPRESS >> i) & 0x1) == 0) && ((KEYPRESSED >> i) == 1)){
      KEYPRESSED = KEYPRESSED & (0x0 << i);
      note_off[0] = 0x80 | channel;
      note_off[1] = (12*octave_num + 24 + i);
      note_off[2] = 0;
      tud_midi_stream_write(cable_num, note_off, 3);
    }
    else {
      if(octave_history == octave_num) continue;
      else {
        note_off[0] = 0x80 | channel;
        note_off[1] = (12*octave_history + 24 + i);
        note_off[2] = 0;
        tud_midi_stream_write(cable_num, note_off, 3);
      }
    }
  }
  octave_history = octave_num;
}

// MIDI TASK-- SEPARATE FILE

void midi_task(void)
{
  static uint32_t start_ms = 0;

  uint8_t const cable_num = 0; // MIDI jack associated with USB endpoint
  uint8_t const channel   = 0; // 0 for channel 1

  // The MIDI interface always creates input and output port/jack descriptors
  // regardless of these being used or not. Therefore incoming traffic should be read
  // (possibly just discarded) to avoid the sender blocking in IO
  uint8_t packet[4];
  while ( tud_midi_available() ) tud_midi_packet_read(packet);

  // send note periodically
  /* CONSIDER USING DELAY WITH SYSTICK HANDLER*/

  HAL_Delay(286);

  /*BELOW IS TINYUSB IMPLEMENTATION USING INTERRUPT*/
  /*
  if (board_millis() - start_ms < 286) return; // not enough time
  start_ms += 286;
  */

  // Previous positions in the note sequence.
  int previous = (int) (note_pos - 1);

  // If we currently are at position 0, set the
  // previous position to the last note in the sequence.
  if (previous < 0) previous = sizeof(note_sequence) - 1;

  // Send Note On for current position at full velocity (127) on channel 1.
  uint8_t note_on[3] = { 0x90 | channel, note_sequence[note_pos], 127 };
  tud_midi_stream_write(cable_num, note_on, 3);

  // Send Note Off for previous note.
  uint8_t note_off[3] = { 0x80 | channel, note_sequence[previous], 0};
  tud_midi_stream_write(cable_num, note_off, 3);

  // Increment position
  note_pos++;

  // If we are at the end of the sequence, start over.
  if (note_pos >= sizeof(note_sequence)) note_pos = 0;
}

/* READ ALL CURRENTLY PRESSED KEYS */
void READ_KEYPRESS(uint32_t adc1_val[], uint32_t adc2_val[]) {
   KEYPRESS = 0x0;
   for (int i = 0; i < 12; i++) {
        if (i < 6) {
            if (adc1_val[i] > 600) KEYPRESS |= 0b1 << i;
        } else {
            if (adc2_val[i - 6] > 600) KEYPRESS |= 0b1 << i;
        }
    }
}

/* HALL EFFECT TO DAC OUTPUT CONVERSION */

uint8_t HALL_TO_DAC(uint32_t adc1_val[], uint32_t adc2_val[], int octave_num) {
    int channel_num = 12;

   for (int i = 0; i < 12; i++) {
        if (i < 6) {
            if (adc1_val[i] > 600) {
                channel_num = i;
                break;
            }
        } else {
            if (adc2_val[i - 6] > 600) {
                channel_num = i;
                break;
            }
        }
    }

    if (octave_num == 0) { // 0-50
        if (channel_num == 0) {
            return 3;
        } else if (channel_num == 1) {
            return 7;
        } else if (channel_num == 2) {
            return 11;
        } else if (channel_num == 3) {
            return 15;
        } else if (channel_num == 4) {
            return 19;
        } else if (channel_num == 5) {
            return 23;
        } else if (channel_num == 6) {
            return 27;
        } else if (channel_num == 7) {
            return 31;
        } else if (channel_num == 8) {
            return 35;
        } else if (channel_num == 9) {
            return 39;
        } else if (channel_num == 10) {
            return 43;
        } else if (channel_num == 11) {
            return 47;
        }
    } else if (octave_num == 1) { // 51-101
        if (channel_num == 0) {
            return 54;
        } else if (channel_num == 1) {
            return 58;
        } else if (channel_num == 2) {
            return 62;
        } else if (channel_num == 3) {
            return 66;
        } else if (channel_num == 4) {
            return 70;
        } else if (channel_num == 5) {
            return 74;
        } else if (channel_num == 6) {
            return 78;
        } else if (channel_num == 7) {
            return 82;
        } else if (channel_num == 8) {
            return 86;
        } else if (channel_num == 9) {
            return 90;
        } else if (channel_num == 10) {
            return 94;
        } else if (channel_num == 11) {
            return 98;
        }
    } else if (octave_num == 2) { // 102-152
        if (channel_num == 0) {
            return 105;
        } else if (channel_num == 1) {
            return 109;
        } else if (channel_num == 2) {
            return 113;
        } else if (channel_num == 3) {
            return 117;
        } else if (channel_num == 4) {
            return 121;
        } else if (channel_num == 5) {
            return 125;
        } else if (channel_num == 6) {
            return 129;
        } else if (channel_num == 7) {
            return 133;
        } else if (channel_num == 8) {
            return 137;
        } else if (channel_num == 9) {
            return 141;
        } else if (channel_num == 10) {
            return 145;
        } else if (channel_num == 11) {
            return 149;
        }
    } else if (octave_num == 3) { // 153-203
        if (channel_num == 0) {
            return 156;
        } else if (channel_num == 1) {
            return 160;
        } else if (channel_num == 2) {
            return 164;
        } else if (channel_num == 3) {
            return 168;
        } else if (channel_num == 4) {
            return 172;
        } else if (channel_num == 5) {
            return 176;
        } else if (channel_num == 6) {
            return 180;
        } else if (channel_num == 7) {
            return 184;
        } else if (channel_num == 8) {
            return 188;
        } else if (channel_num == 9) {
            return 192;
        } else if (channel_num == 10) {
            return 196;
        } else if (channel_num == 11) {
            return 200;
        }
    } else { // 204-255
        if (channel_num == 0) {
            return 207;
        } else if (channel_num == 1) {
            return 211;
        } else if (channel_num == 2) {
            return 215;
        } else if (channel_num == 3) {
            return 219;
        } else if (channel_num == 4) {
            return 223;
        } else if (channel_num == 5) {
            return 227;
        } else if (channel_num == 6) {
            return 231;
        } else if (channel_num == 7) {
            return 235;
        } else if (channel_num == 8) {
            return 239;
        } else if (channel_num == 9) {
            return 243;
        } else if (channel_num == 10) {
            return 247;
        } else if (channel_num == 11) {
            return 251;
        }
    }
    return 0x0;
}

// need to also set variable for NOTE ON and NOTE OFF (elsewhere likely, global variable)
uint8_t DAC_TO_MIDI(uint8_t val){
  uint8_t midi = 0;
  if((val > 0) && (val < 48)) midi = val/4;
  else midi = (val/4) - 1;

  return midi;
}

/* USER CODE END 4 */

void Error_Handler(void)
{
  __disable_irq();
  while (1)
  {
  }
}
